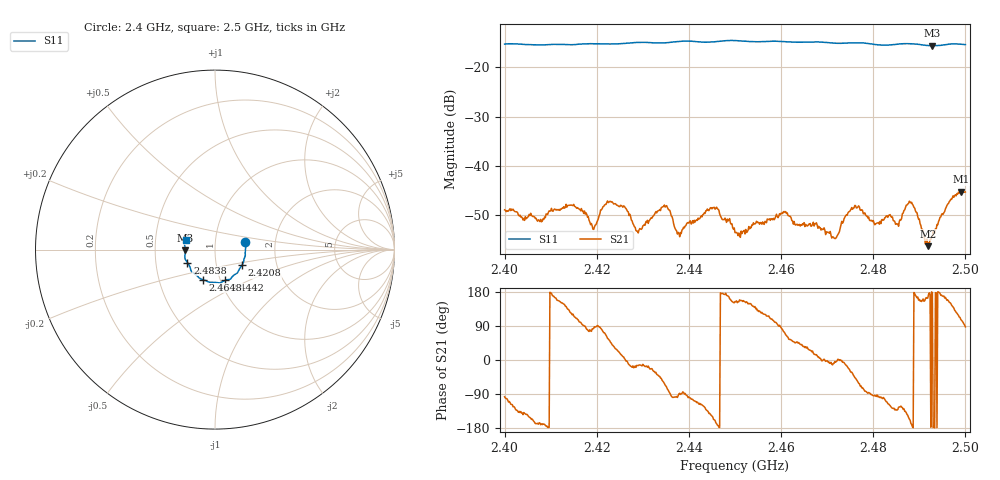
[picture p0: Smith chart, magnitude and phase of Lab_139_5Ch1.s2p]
# Hz S RI R 50
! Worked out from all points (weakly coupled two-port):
!   601 points, 2.4 GHz to 2.5 GHz, reference 50 ohm
!   highest |S21| = -45.21 dB at 2.499 GHz (marker M1); lowest = -56.2 dB at 2.4918 GHz (marker M2)
!   lowest |S11| = -15.6 dB at 2.4928 GHz (marker M3), VSWR 1.40, Z = 35.8 - j0.344 ohm
!   |S11| at or under -10 dB: start of sweep to end of sweep
!   S12 and S22 are empty: the file has one direction only
!   S11 on the Smith chart (normalised r, x): 2.4 GHz: 1.40, +0.12; 2.4208 GHz: 1.33, -0.24; 2.4442 GHz: 1.05, -0.37; 2.4648 GHz: 0.83, -0.29; 2.4838 GHz: 0.73, -0.11; 2.5 GHz: 0.72, +0.08
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2.4e9  0.1678 0.0413  -0.000439 -0.00357  0 0  0 0
2.416667e9  0.159 -0.0679  -0.000436 0.00368  0 0  0 0
2.419167e9  0.1541 -0.0811  0.000311 0.00227  0 0  0 0
2.420833e9  0.1506 -0.0868  0.000376 0.00357  0 0  0 0
2.425667e9  0.1339 -0.1124  0.00377 0.000587  0 0  0 0
2.429e9  0.1269 -0.1271  0.00203 -0.000537  0 0  0 0
2.433333e9  0.1079 -0.1403  0.00268 -0.00227  0 0  0 0
2.437833e9  0.0886 -0.1614  2.98e-05 -0.00209  0 0  0 0
2.444167e9  0.0567 -0.1714  -0.00256 -0.00247  0 0  0 0
2.45e9  0.0244 -0.186  -0.0019 0.000924  0 0  0 0
2.4605e9  -0.0378 -0.1793  0.000862 0.00333  0 0  0 0
2.464833e9  -0.0685 -0.1668  0.00208 0.00147  0 0  0 0
2.466667e9  -0.0799 -0.1628  0.00231 0.000919  0 0  0 0
2.4715e9  -0.0992 -0.1463  0.00184 -0.000286  0 0  0 0
2.475667e9  -0.1259 -0.1257  0.00289 -0.00238  0 0  0 0
2.483333e9  -0.1507 -0.0761  -0.0014 -0.00284  0 0  0 0
2.483833e9  -0.1533 -0.072  -0.0017 -0.00257  0 0  0 0
2.488167e9  -0.1675 -0.0472  -0.00412 -0.00096  0 0  0 0
2.491833e9  -0.1662 -0.0167  -0.00147 0.000446  0 0  0 0
2.492833e9  -0.1658 -0.00467  -0.00189 0.000144  0 0  0 0
2.499e9  -0.1663 0.0454  -0.00159 0.00525  0 0  0 0
2.5e9  -0.1622 0.0531  0.000244 0.00545  0 0  0 0
